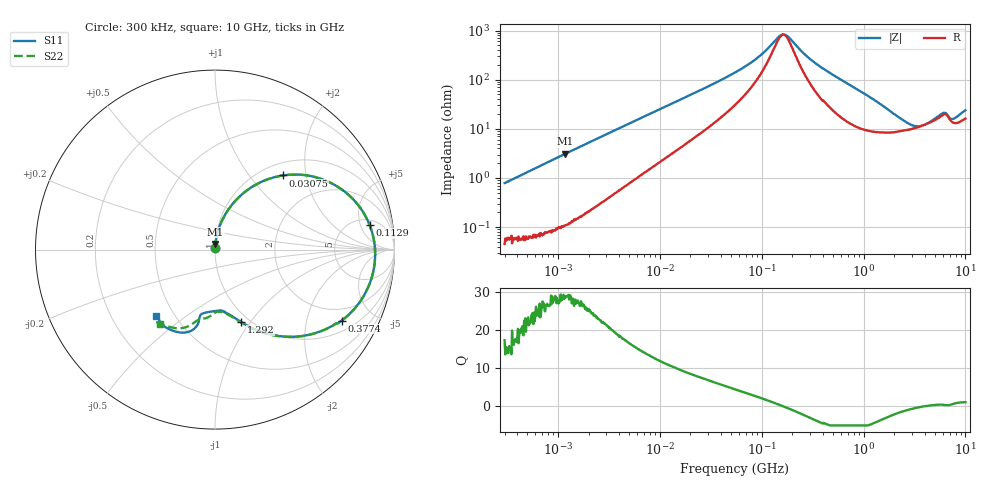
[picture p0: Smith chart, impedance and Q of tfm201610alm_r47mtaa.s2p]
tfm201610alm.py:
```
#!/usr/bin/env python3
# Convert S-parameters of inductor, measured as a two port, to impedance

from inform import fatal, os_error
from rlc_chart import RLC_Chart
from cmath import rect, pi as π
from pathlib import Path

y11 = []
y12 = []
y21 = []
y22 = []
Zind = []
freq = []
z0 = 50

try:
    data = Path('tfm201610alm_r47mtaa.s2p').read_text()
    lines = data.splitlines()
    for line in lines:
        line = line.strip()
        if line[0] in '!#':
            continue
        f, s11m, s11p, s12m, s12p, s21m, s21p, s22m, s22p = line.split()
        s11 = rect(float(s11m), π*float(s11p)/180)
        s12 = rect(float(s12m), π*float(s12p)/180)
        s21 = rect(float(s21m), π*float(s21p)/180)
        s22 = rect(float(s22m), π*float(s22p)/180)
        Δ = (1 + s11)*(1 + s22) - s12*s21
        y11 = ((1 - s11)*(1 + s22) + s12*s21) / Δ / z0
        y12 = -2*s12 / Δ / z0
        y21 = -2*s21 / Δ / z0
        y22 = ((1 + s11)*(1 - s22) + s12*s21) / Δ / z0
        f = float(f)
        if f:
            freq.append(f)
            Zind.append(abs(1/y12))

    with RLC_Chart('tfm201610alm.svg', 100e3, 1e9, 0.1, 1000) as chart:
        chart.add_trace(freq, Zind)

except OSError as e:
    fatal(os_error(e))
```
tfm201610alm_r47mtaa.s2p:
! S-Parameter Data Generated by TDK Corporation
! Copyright(C) 2019 TDK Corporation.
! All Rights Reserved.
! TDK P/N: TFM201610ALM-R47MTAA (Inductor)
! Property: L=470nH at 1MHz
! Size(LxWxT): 2x1.6x1mm
! Model Type: s2p (Touchstone File Format Version 1.0)
! Frequency: DC=Yes Start=0.3MHz Stop=10000MHz 802points Log-sweep
! Model Generated on May 10, 2019
! Port Assignments:
!  1 ---@@@--- 2
! Applicable Conditions:
!  Temperature = 25 degC
!  DC Bias Current = 0 A
!  Small Signal Operation
! Terms and conditions regarding TDK Simulation Models
! (1)This simulation model is being provided solely for informational purposes. Please refer to the specifications of the products in terms of detailed characteristics of such products.
! (2)In no event shall TDK Corporation of any of its subsidiaries be liable for any loss or damage arising, directly or indirectly,
!  From any information contained in this simulation model, including, but not limited to loss or damages arising from any inaccuracies, omissions or errors in connection with such information.
! (3)Any and all copyrights on this simulation model are owned by TDK Corporation.
!  Duplication or redistribution of this simulation model without prior written permission from TDK Corporation is prohibited.
! (4)This simulation model is subject to any modification or change without any prior notice.
! (5)Neither TDK Corporation nor any of its subsidiaries shall make any warranty, express or implied,
!  Including but not limited to the correctness, implied warranties of merchantability and fitness for a particular purpose with respect to this simulation models.
! (6)The use of this simulation model shall be deemed to have consented to the terms and conditions hereof.
# Hz S MA R 50
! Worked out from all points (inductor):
!   801 points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, 300 kHz to 10 GHz, reference 50 ohm
!   read as one part in series: L = 416 nH near 318.3 kHz
!   highest Q = 28.8 at 1.187 MHz (marker M1), where L = 418 nH
!   self-resonance near 163.1 MHz
!   S11 on the Smith chart (normalised r, x): 300 kHz: 1.00, +0.02; 30.75 MHz: 1.23, +1.49; 112.9 MHz: 6.29, +7.22; 377.4 MHz: 1.42, -3.26; 1.292 GHz: 0.91, -0.90; 10 GHz: 0.40, -0.39
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300000  0.007765 86.7  0.9996 -0.5  0.9993 -0.4  0.007926 86.5
1187016  0.03101 86.2  0.9985 -1.8  0.9984 -1.8  0.03108 86.2
9553184  0.2281 72.0  0.9551 -13.2  0.955 -13.2  0.2281 72.0
3.075078e7  0.5609 47.5  0.7491 -34.0  0.7491 -34.0  0.5608 47.4
5.477226e7  0.7392 30.6  0.5306 -46.8  0.5306 -46.8  0.7392 30.5
1.128912e8  0.8724 9.0  0.2108 -49.0  0.2108 -49.0  0.8724 9.0
1.69821e8  0.893 -3.1  0.1087 7.6  0.1087 7.6  0.893 -3.1
3.7738e8  0.8091 -29.2  0.4331 47.7  0.433 47.7  0.8091 -29.3
1.292013e9  0.4285 -70.2  0.8317 10.0  0.8315 10.0  0.4297 -70.4
3.387826e9  0.3491 -95.5  0.8384 -20.3  0.8383 -20.4  0.3606 -92.0
1e10  0.4927 -131.8  0.667 -65.4  0.6669 -65.5  0.518 -126.5
